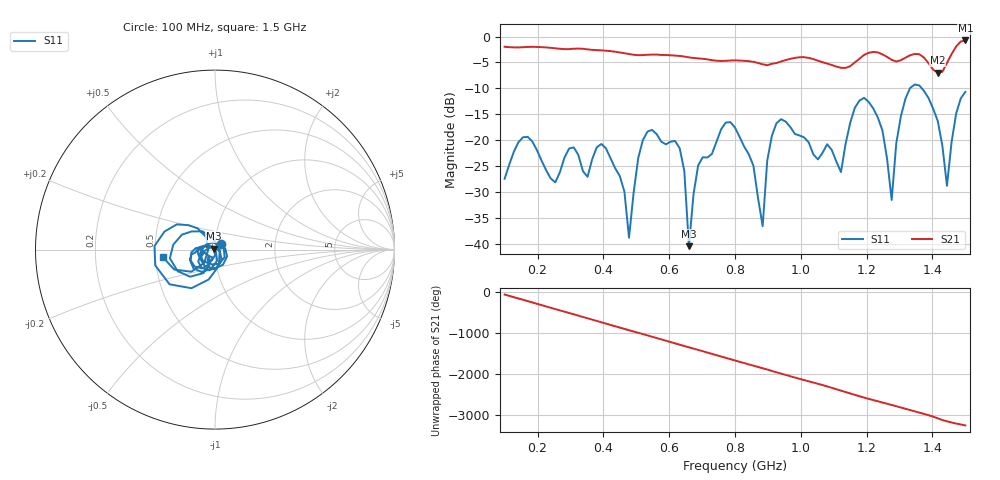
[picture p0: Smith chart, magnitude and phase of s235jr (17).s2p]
! NanoVNA-App
! Date: 2025-09-25 15:04:17
! Start: 100MHz Stop: 1,5GHz Points: 101
! S-Parameter data: F S11 S21 S12 S22
# Hz S RI R 50
!  Frequency  S11_Real  S11_Imag  S21_Real  S21_Imag  S12_Real  S12_Imag  S22_Real  S22_Imag
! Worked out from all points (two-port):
!   101 points, 100 MHz to 1.5 GHz, reference 50 ohm
!   highest |S21| = -0.74 dB at 1.5 GHz (marker M1); lowest = -7.0 dB at 1.416 GHz (marker M2)
!   |S21| within 3 dB of the highest: start of sweep to 632.7 MHz; 1.188 GHz to 1.257 GHz (68.73 MHz wide, 5.62 % of centre) (the widest 2 of 4)
!   lowest |S11| = -40.5 dB at 660 MHz (marker M3), VSWR 1.02, Z = 49.3 + j0.581 ohm
!   |S11| at or under -10 dB: start of sweep to 1.332 GHz; 1.368 GHz to end of sweep
!   S12 and S22 are empty: the file has one direction only
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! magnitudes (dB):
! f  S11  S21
! 100 MHz  -27.5  -2.0
! 156 MHz  -19.5  -2.1
! 338 MHz  -26.0  -2.3
! 408 MHz  -21.6  -2.7
! 478 MHz  -38.9  -3.4
! 520 MHz  -20.0  -3.6
! 576 MHz  -20.3  -3.5
! 632 MHz  -21.6  -3.7
! 660 MHz  -40.5  -4.0
! 688 MHz  -24.9  -4.2
! 800 MHz  -17.6  -4.6
! 884 MHz  -36.6  -5.4
! 926 MHz  -16.7  -5.1
! 1.038 GHz  -22.8  -4.3
! 1.122 GHz  -26.2  -6.0
! 1.192 GHz  -11.8  -3.5
! 1.248 GHz  -18.2  -3.4
! 1.276 GHz  -31.6  -4.5
! 1.332 GHz  -9.9  -3.6
! 1.416 GHz  -16.3  -7.0
! 1.444 GHz  -28.8  -5.1
! 1.5 GHz  -10.7  -0.7
